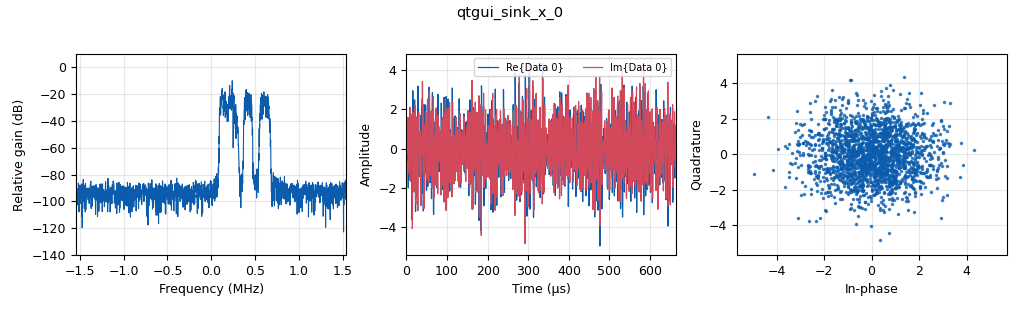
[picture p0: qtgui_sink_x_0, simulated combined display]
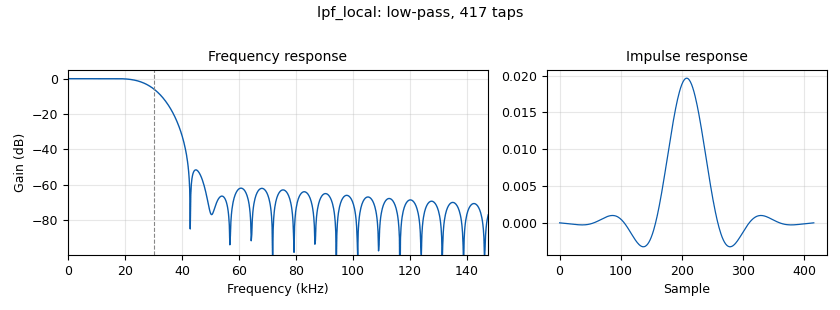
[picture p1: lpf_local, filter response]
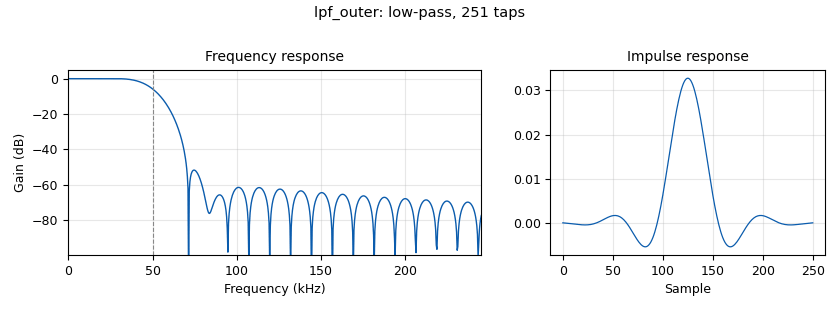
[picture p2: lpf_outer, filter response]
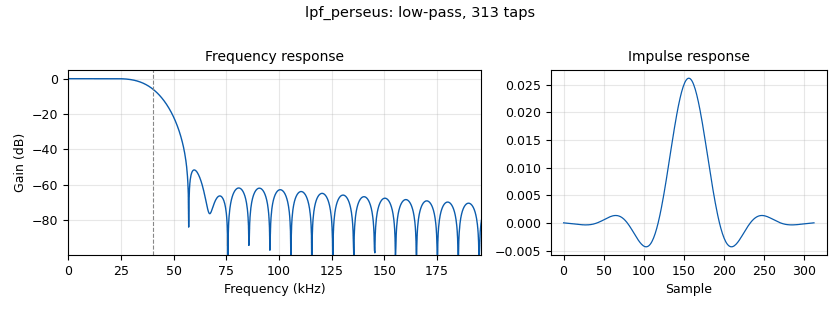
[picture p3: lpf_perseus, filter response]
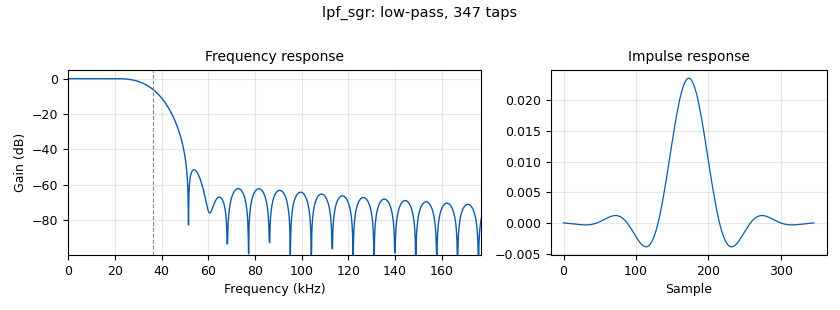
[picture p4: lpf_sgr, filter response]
options:
  parameters:
    author: Mergen-21
    comment: |-
      5 Gaussian components at Doppler offsets
      Local, Perseus, Outer, Sgr, Warm interarm
    description: 'Topo 3: 5-component Milky Way model'
    generate_options: qt_gui
    id: topo3_galaxy_rotation
    output_language: python
    title: 'Topo 3: Galaxy Rotation'
  states: {}

blocks:
- name: LO_freq
  id: variable
  parameters:
    value: '1420405000'
  states: {}
- name: fft_size
  id: variable
  parameters:
    value: '4096'
  states: {}
- name: integration_time
  id: variable
  parameters:
    value: '10000'
  states: {}
- name: rf_bandwidth
  id: variable
  parameters:
    value: '3080000'
  states: {}
- name: rx_gain
  id: variable_qtgui_range
  parameters:
    gui_hint: 0,2,1,2
    label: RX Gain [dB]
    start: '0'
    step: '1'
    stop: '73'
    value: '30'
  states: {state: disabled}
- name: samp_rate
  id: variable
  parameters:
    value: '3080000'
  states: {}
- name: sky_offset_hz
  id: variable_qtgui_range
  parameters:
    gui_hint: 0,4,1,2
    label: Sky Offset in Hertz
    start: '-500e3'
    step: 1e3
    stop: 500e3
    value: 230e3
  states: {}
- name: tx_atten
  id: variable_qtgui_range
  parameters:
    gui_hint: 0,0,1,2
    label: TX Attenuation [dB]
    start: '0'
    step: '0.25'
    stop: '89.75'
    value: '50'
  states: {}
- name: blocks_complex_to_mag_squared_0
  id: blocks_complex_to_mag_squared
  parameters:
    vlen: fft_size
  states: {state: disabled}
- name: blocks_integrate_xx_0
  id: blocks_integrate_xx
  parameters:
    decim: integration_time
    type: float
    vlen: fft_size
  states: {state: disabled}
- name: blocks_multiply_const_vxx_0
  id: blocks_multiply_const_vxx
  parameters:
    const: (1.0/integration_time,) * fft_size
    type: float
    vlen: '4096'
  states: {state: disabled}
- name: blocks_multiply_const_xx_0
  id: blocks_multiply_const_xx
  parameters:
    const: '7.5'
    type: complex
  states: {}
- name: blocks_multiply_const_xx_0_0
  id: blocks_multiply_const_xx
  parameters:
    const: '7.6'
    type: complex
  states: {}
- name: blocks_multiply_const_xx_0_0_0
  id: blocks_multiply_const_xx
  parameters:
    const: '8.7'
    type: complex
  states: {}
- name: blocks_multiply_const_xx_0_0_0_0
  id: blocks_multiply_const_xx
  parameters:
    const: '8.2'
    type: complex
  states: {}
- name: blocks_multiply_const_xx_0_0_0_0_0
  id: blocks_multiply_const_xx
  parameters:
    const: '7.6'
    type: complex
  states: {}
- name: blocks_nlog10_ff_0
  id: blocks_nlog10_ff
  parameters:
    k: '0'
    n: '10'
    vlen: '4096'
  states: {state: disabled}
- name: blocks_stream_to_vector_0
  id: blocks_stream_to_vector
  parameters:
    num_items: fft_size
    type: complex
  states: {state: disabled}
- name: fft_vxx_0
  id: fft_vxx
  parameters:
    fft_size: fft_size
    forward: 'True'
    shift: 'True'
    type: complex
    window: window.blackmanharris(fft_size)
  states: {state: disabled}
- name: iio_pluto_sink_0
  id: iio_pluto_sink
  parameters:
    attenuation1: tx_atten
    bandwidth: rf_bandwidth
    buffer_size: '32768'
    comment: TX Pluto
    cyclic: 'False'
    filter_source: '''Auto'''
    frequency: LO_freq
    samplerate: samp_rate
    type: fc32
    uri: ip:192.168.20.1
  states: {}
- name: lpf_local
  id: low_pass_filter
  parameters:
    cutoff_freq: '30191'
    decim: '1'
    gain: '1'
    samp_rate: samp_rate
    type: fir_filter_ccf
    width: '17775'
    win: window.WIN_HAMMING
  states: {}
- name: lpf_outer
  id: low_pass_filter
  parameters:
    cutoff_freq: '50318'
    decim: '1'
    gain: '1'
    samp_rate: samp_rate
    type: fir_filter_ccf
    width: '29625'
    win: window.WIN_HAMMING
  states: {}
- name: lpf_perseus
  id: low_pass_filter
  parameters:
    cutoff_freq: '40254'
    decim: '1'
    gain: '1'
    samp_rate: samp_rate
    type: fir_filter_ccf
    width: '23700'
    win: window.WIN_HAMMING
  states: {}
- name: lpf_sgr
  id: low_pass_filter
  parameters:
    cutoff_freq: '36220'
    decim: '1'
    gain: '1'
    samp_rate: samp_rate
    type: fir_filter_ccf
    width: '21325'
    win: window.WIN_HAMMING
  states: {}
- name: lpf_warm
  id: low_pass_filter
  parameters:
    cutoff_freq: '80509'
    decim: '1'
    gain: '1'
    samp_rate: samp_rate
    type: fir_filter_ccf
    width: '47400'
    win: window.WIN_HAMMING
  states: {}
- name: noise_floor
  id: analog_noise_source_x
  parameters:
    amp: '0.002'
    comment: AWGN floor
    noise_type: analog.GR_GAUSSIAN
    seed: '42'
    type: complex
  states: {}
- name: noise_local
  id: analog_noise_source_x
  parameters:
    amp: '1.0'
    comment: local
    noise_type: analog.GR_GAUSSIAN
    seed: '0'
    type: complex
  states: {}
- name: noise_outer
  id: analog_noise_source_x
  parameters:
    amp: '0.5'
    comment: outer
    noise_type: analog.GR_GAUSSIAN
    seed: '2'
    type: complex
  states: {}
- name: noise_perseus
  id: analog_noise_source_x
  parameters:
    amp: '0.8'
    comment: perseus
    noise_type: analog.GR_GAUSSIAN
    seed: '1'
    type: complex
  states: {}
- name: noise_sgr
  id: analog_noise_source_x
  parameters:
    amp: '0.6'
    comment: sgr
    noise_type: analog.GR_GAUSSIAN
    seed: '3'
    type: complex
  states: {}
- name: noise_warm
  id: analog_noise_source_x
  parameters:
    amp: '0.3'
    comment: warm
    noise_type: analog.GR_GAUSSIAN
    seed: '4'
    type: complex
  states: {}
- name: note_1
  id: note
  parameters:
    note: Per-branch Multiply Const blocks are added after each LPF to normalize the synthetic component strengths after spectral shaping. Since each branch has a different filter bandwidth, the output power is not set only by the source amplitude. These gains make the relative strengths intentional and repeatable instead of being implicitly determined by filter width.
  states: {}
- name: pluto_rx
  id: iio_pluto_source
  parameters:
    bandwidth: rf_bandwidth
    bbdc: 'True'
    buffer_size: '32768'
    comment: RX Pluto
    filter_source: '''Auto'''
    frequency: LO_freq
    gain1: '''manual'''
    manual_gain1: rx_gain
    quadrature: 'True'
    rfdc: 'True'
    samplerate: samp_rate
    type: fc32
    uri: ip:192.168.20.1
  states: {state: disabled}
- name: qtgui_freq_sink_0
  id: qtgui_freq_sink_x
  parameters:
    autoscale: 'True'
    bw: samp_rate
    fc: LO_freq
    fftsize: fft_size
    grid: 'True'
    gui_hint: 4,0,2,6
    label1: RX
    name: '"RX Quick-Look FFT"'
    type: complex
    ymax: '-20'
  states: {state: disabled}
- name: qtgui_sink_x_0
  id: qtgui_sink_x
  parameters:
    bw: samp_rate
    fc: '0'
    fftsize: '2048'
    showrf: 'True'
    type: complex
    wintype: window.WIN_KAISER
  states: {}
- name: qtgui_vector_sink_f_0
  id: qtgui_vector_sink_f
  parameters:
    grid: 'True'
    gui_hint: 2,0,2,6
    label1: Power
    name: '"Integrated Power Spectrum"'
    vlen: fft_size
    x_axis_label: '"Frequency (Hz)"'
    x_start: '-samp_rate/2'
    x_step: samp_rate/fft_size
    x_units: '"Hz"'
    y_axis_label: '"Power"'
    ymax: '1'
    ymin: '0'
  states: {state: disabled}
- name: rot_local
  id: blocks_rotator_cc
  parameters:
    comment: 0.0 Hz
    phase_inc: 2.0 * 3.14159265 * 0.0 / samp_rate
  states: {}
- name: rot_outer
  id: blocks_rotator_cc
  parameters:
    comment: 379200 Hz
    phase_inc: 2.0 * 3.14159265 * 379200.0 / samp_rate
  states: {}
- name: rot_perseus
  id: blocks_rotator_cc
  parameters:
    comment: 189600 Hz
    phase_inc: 2.0 * 3.14159265 * 189600.0 / samp_rate
  states: {}
- name: rot_sgr
  id: blocks_rotator_cc
  parameters:
    comment: '-94800 Hz'
    phase_inc: 2.0 * 3.14159265 * -94800.0 / samp_rate
  states: {}
- name: rot_warm
  id: blocks_rotator_cc
  parameters:
    comment: '-23700 Hz'
    phase_inc: 2.0 * 3.14159265 * -23700.0 / samp_rate
  states: {}
- name: rot_warm_0
  id: blocks_rotator_cc
  parameters:
    comment: '-23700 Hz'
    phase_inc: (2.0 * 3.141592653589793 * sky_offset_hz) / samp_rate
  states: {}
- name: tx_adder
  id: blocks_add_xx
  parameters:
    num_inputs: '6'
    type: complex
  states: {}

connections:
- [blocks_complex_to_mag_squared_0, '0', blocks_integrate_xx_0, '0']
- [blocks_integrate_xx_0, '0', blocks_multiply_const_vxx_0, '0']
- [blocks_multiply_const_vxx_0, '0', blocks_nlog10_ff_0, '0']
- [blocks_multiply_const_xx_0, '0', rot_local, '0']
- [blocks_multiply_const_xx_0_0, '0', rot_perseus, '0']
- [blocks_multiply_const_xx_0_0_0, '0', rot_outer, '0']
- [blocks_multiply_const_xx_0_0_0_0, '0', rot_sgr, '0']
- [blocks_multiply_const_xx_0_0_0_0_0, '0', rot_warm, '0']
- [blocks_nlog10_ff_0, '0', qtgui_vector_sink_f_0, '0']
- [blocks_stream_to_vector_0, '0', fft_vxx_0, '0']
- [fft_vxx_0, '0', blocks_complex_to_mag_squared_0, '0']
- [lpf_local, '0', blocks_multiply_const_xx_0, '0']
- [lpf_outer, '0', blocks_multiply_const_xx_0_0_0, '0']
- [lpf_perseus, '0', blocks_multiply_const_xx_0_0, '0']
- [lpf_sgr, '0', blocks_multiply_const_xx_0_0_0_0, '0']
- [lpf_warm, '0', blocks_multiply_const_xx_0_0_0_0_0, '0']
- [noise_floor, '0', tx_adder, '5']
- [noise_local, '0', lpf_local, '0']
- [noise_outer, '0', lpf_outer, '0']
- [noise_perseus, '0', lpf_perseus, '0']
- [noise_sgr, '0', lpf_sgr, '0']
- [noise_warm, '0', lpf_warm, '0']
- [pluto_rx, '0', blocks_stream_to_vector_0, '0']
- [pluto_rx, '0', qtgui_freq_sink_0, '0']
- [rot_local, '0', tx_adder, '0']
- [rot_outer, '0', tx_adder, '2']
- [rot_perseus, '0', tx_adder, '1']
- [rot_sgr, '0', tx_adder, '3']
- [rot_warm, '0', tx_adder, '4']
- [rot_warm_0, '0', iio_pluto_sink_0, '0']
- [rot_warm_0, '0', qtgui_sink_x_0, '0']
- [tx_adder, '0', rot_warm_0, '0']

metadata:
  file_format: 1
  grc_version: 3.10.12.0
